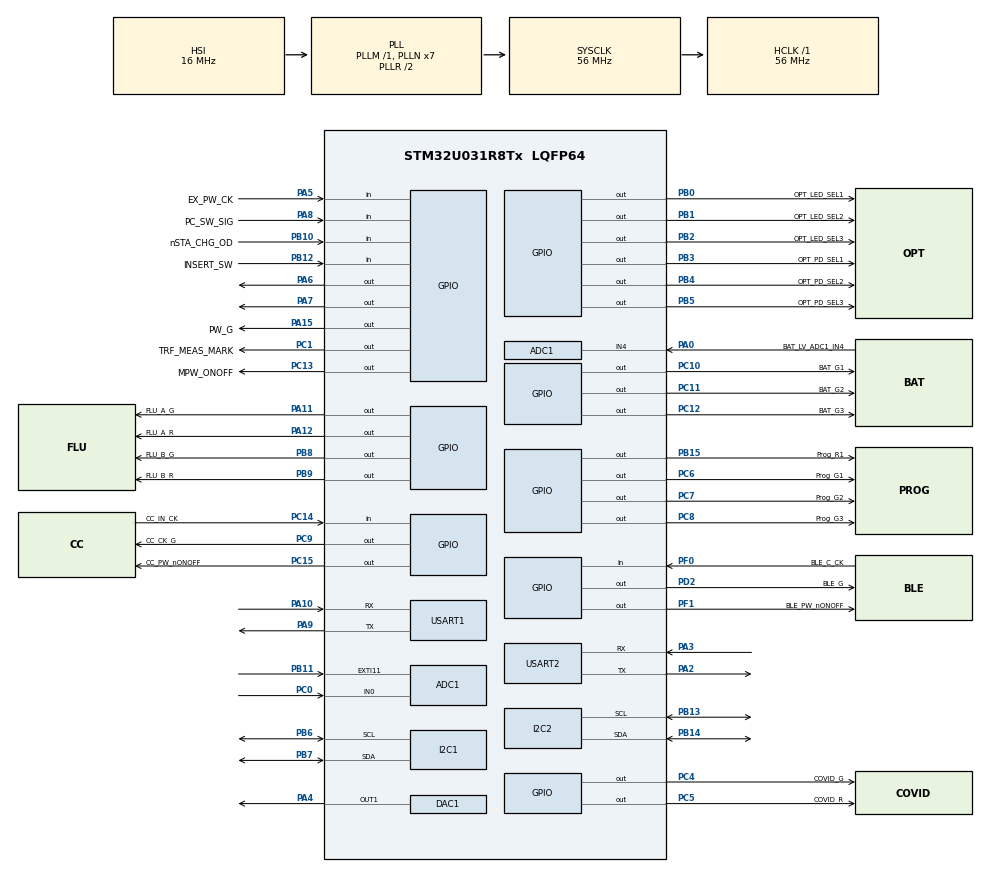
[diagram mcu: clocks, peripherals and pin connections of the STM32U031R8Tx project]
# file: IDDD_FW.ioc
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ADC1.Channel-0\#ChannelRegularConversion=ADC_CHANNEL_0
ADC1.ClockPrescaler=ADC_CLOCK_ASYNC_DIV1
ADC1.ExternalTrigConvEdge=ADC_EXTERNALTRIGCONVEDGE_RISING
ADC1.NbrOfConversionFlag=1
ADC1.Rank-0\#ChannelRegularConversion=1
ADC1.RankArg-0\#ChannelRegularConversion=ADC_REGULAR_RANK_1
ADC1.SamplingTime-0\#ChannelRegularConversion=ADC_SAMPLINGTIME_COMMON_1
ADC1.SelectedChannel=ADC_CHANNEL_0|ADC_CHANNEL_4
ADC1.master=1
Dma.ADC1.0.Direction=DMA_PERIPH_TO_MEMORY
Dma.ADC1.0.EventEnable=DISABLE
Dma.ADC1.0.Instance=DMA1_Channel1
Dma.ADC1.0.MemDataAlignment=DMA_MDATAALIGN_HALFWORD
Dma.ADC1.0.MemInc=DMA_MINC_ENABLE
Dma.ADC1.0.Mode=DMA_NORMAL
Dma.ADC1.0.PeriphDataAlignment=DMA_PDATAALIGN_HALFWORD
Dma.ADC1.0.PeriphInc=DMA_PINC_DISABLE
Dma.ADC1.0.Polarity=HAL_DMAMUX_REQ_GEN_RISING
Dma.ADC1.0.Priority=DMA_PRIORITY_LOW
Dma.ADC1.0.RequestNumber=1
Dma.ADC1.0.SignalID=NONE
Dma.ADC1.0.SyncEnable=DISABLE
Dma.ADC1.0.SyncPolarity=HAL_DMAMUX_SYNC_NO_EVENT
Dma.ADC1.0.SyncRequestNumber=1
Dma.ADC1.0.SyncSignalID=NONE
Dma.Request0=ADC1
Dma.Request1=USART1_TX
Dma.Request2=USART2_TX
Dma.USART1_TX.1.Direction=DMA_MEMORY_TO_PERIPH
Dma.USART1_TX.1.EventEnable=DISABLE
Dma.USART1_TX.1.Instance=DMA1_Channel2
Dma.USART1_TX.1.MemDataAlignment=DMA_MDATAALIGN_BYTE
Dma.USART1_TX.1.MemInc=DMA_MINC_ENABLE
Dma.USART1_TX.1.Mode=DMA_NORMAL
Dma.USART1_TX.1.PeriphDataAlignment=DMA_PDATAALIGN_BYTE
Dma.USART1_TX.1.PeriphInc=DMA_PINC_DISABLE
Dma.USART1_TX.1.Polarity=HAL_DMAMUX_REQ_GEN_RISING
Dma.USART1_TX.1.Priority=DMA_PRIORITY_LOW
Dma.USART1_TX.1.RequestNumber=1
Dma.USART1_TX.1.SignalID=NONE
Dma.USART1_TX.1.SyncEnable=DISABLE
Dma.USART1_TX.1.SyncPolarity=HAL_DMAMUX_SYNC_NO_EVENT
Dma.USART1_TX.1.SyncRequestNumber=1
Dma.USART1_TX.1.SyncSignalID=NONE
Dma.USART2_TX.2.Direction=DMA_MEMORY_TO_PERIPH
Dma.USART2_TX.2.EventEnable=DISABLE
Dma.USART2_TX.2.Instance=DMA1_Channel3
Dma.USART2_TX.2.MemDataAlignment=DMA_MDATAALIGN_BYTE
Dma.USART2_TX.2.MemInc=DMA_MINC_ENABLE
Dma.USART2_TX.2.Mode=DMA_NORMAL
Dma.USART2_TX.2.PeriphDataAlignment=DMA_PDATAALIGN_BYTE
Dma.USART2_TX.2.PeriphInc=DMA_PINC_DISABLE
Dma.USART2_TX.2.Polarity=HAL_DMAMUX_REQ_GEN_RISING
Dma.USART2_TX.2.Priority=DMA_PRIORITY_LOW
Dma.USART2_TX.2.RequestNumber=1
Dma.USART2_TX.2.SignalID=NONE
Dma.USART2_TX.2.SyncEnable=DISABLE
Dma.USART2_TX.2.SyncPolarity=HAL_DMAMUX_SYNC_NO_EVENT
Dma.USART2_TX.2.SyncRequestNumber=1
Dma.USART2_TX.2.SyncSignalID=NONE
I2C1.Timing=0x10606DA4
I2C2.Timing=0x10606DA4
Mcu.Family=STM32U0
Mcu.Name=STM32U031R8Tx
Mcu.Package=LQFP64
NVIC.DMA1_Channel1_IRQn=true\:0\:0\:false\:false\:true\:false\:true\:true
NVIC.DMA1_Channel2_3_IRQn=true\:0\:0\:false\:false\:true\:false\:true\:true
NVIC.PriorityGroup=NVIC_PRIORITYGROUP_2
NVIC.TIM7_LPTIM2_IRQn=true\:3\:0\:false\:false\:true\:false\:true\:true
NVIC.TimeBase=TIM7_LPTIM2_IRQn
NVIC.TimeBaseIP=TIM7
NVIC.USART1_IRQn=true\:0\:0\:false\:false\:true\:true\:true\:true
NVIC.USART2_LPUART2_IRQn=true\:0\:0\:false\:false\:true\:true\:true\:true
PA0.GPIO_Label=BAT_LV_ADC1_IN4
PA0.Mode=IN4
PA0.Signal=ADC1_IN4
PA10.Mode=Asynchronous
PA10.Signal=USART1_RX
PA11\ [PA9].GPIO_Label=FLU_A_G
PA11\ [PA9].PinState=GPIO_PIN_SET
PA11\ [PA9].Signal=GPIO_Output
PA12\ [PA10].GPIO_Label=FLU_A_R
PA12\ [PA10].PinState=GPIO_PIN_SET
PA12\ [PA10].Signal=GPIO_Output
PA13\ (SWDIO).Mode=Serial_Wire
PA13\ (SWDIO).Signal=DEBUG_JTMS-SWDIO
PA14\ (SWCLK).Mode=Serial_Wire
PA14\ (SWCLK).Signal=DEBUG_JTCK-SWCLK
PA15.GPIO_Label=PW_G
PA15.PinState=GPIO_PIN_SET
PA15.Signal=GPIO_Output
PA2.Mode=Asynchronous
PA2.Signal=USART2_TX
PA3.Mode=Asynchronous
PA3.Signal=USART2_RX
PA4.Signal=COMP_DAC11_group
PA5.GPIO_Label=EX_PW_CK
PA5.Signal=GPIO_Input
PA6.Signal=GPIO_Output
PA7.Signal=GPIO_Output
PA8.GPIO_Label=PC_SW_SIG
PA8.GPIO_PuPd=GPIO_PULLDOWN
PA8.Signal=GPIO_Input
PA9.Mode=Asynchronous
PA9.Signal=USART1_TX
PB0.GPIO_Label=OPT_LED_SEL1
PB0.Signal=GPIO_Output
PB1.GPIO_Label=OPT_LED_SEL2
PB1.Signal=GPIO_Output
PB10.GPIO_Label=nSTA_CHG_OD
PB10.GPIO_PuPd=GPIO_PULLUP
PB10.Signal=GPIO_Input
PB11.Signal=GPXTI11
PB12.GPIO_Label=INSERT_SW
PB12.Signal=GPIO_Input
PB13.Mode=I2C
PB13.Signal=I2C2_SCL
PB14.Mode=I2C
PB14.Signal=I2C2_SDA
PB15.GPIO_Label=Prog_R1
PB15.PinState=GPIO_PIN_SET
PB15.Signal=GPIO_Output
PB2.GPIO_Label=OPT_LED_SEL3
PB2.Signal=GPIO_Output
PB3.GPIO_Label=OPT_PD_SEL1
PB3.Signal=GPIO_Output
PB4.GPIO_Label=OPT_PD_SEL2
PB4.Signal=GPIO_Output
PB5.GPIO_Label=OPT_PD_SEL3
PB5.Signal=GPIO_Output
PB6.Mode=I2C
PB6.Signal=I2C1_SCL
PB7.Mode=I2C
PB7.Signal=I2C1_SDA
PB8.GPIO_Label=FLU_B_G
PB8.PinState=GPIO_PIN_SET
PB8.Signal=GPIO_Output
PB9.GPIO_Label=FLU_B_R
PB9.PinState=GPIO_PIN_SET
PB9.Signal=GPIO_Output
PC0.Mode=IN0
PC0.Signal=ADC1_IN0
PC1.GPIO_Label=TRF_MEAS_MARK
PC1.Signal=GPIO_Output
PC10.GPIO_Label=BAT_G1
PC10.PinState=GPIO_PIN_SET
PC10.Signal=GPIO_Output
PC11.GPIO_Label=BAT_G2
PC11.PinState=GPIO_PIN_SET
PC11.Signal=GPIO_Output
PC12.GPIO_Label=BAT_G3
PC12.PinState=GPIO_PIN_SET
PC12.Signal=GPIO_Output
PC13.GPIO_Label=MPW_ONOFF
PC13.PinState=GPIO_PIN_SET
PC13.Signal=GPIO_Output
PC14-OSC32_IN.GPIO_Label=CC_IN_CK
PC14-OSC32_IN.GPIO_PuPd=GPIO_PULLDOWN
PC14-OSC32_IN.Signal=GPIO_Input
PC15-OSC32_OUT.GPIO_Label=CC_PW_nONOFF
PC15-OSC32_OUT.PinState=GPIO_PIN_SET
PC15-OSC32_OUT.Signal=GPIO_Output
PC4.GPIO_Label=COVID_G
PC4.PinState=GPIO_PIN_SET
PC4.Signal=GPIO_Output
PC5.GPIO_Label=COVID_R
PC5.PinState=GPIO_PIN_SET
PC5.Signal=GPIO_Output
PC6.GPIO_Label=Prog_G1
PC6.PinState=GPIO_PIN_SET
PC6.Signal=GPIO_Output
PC7.GPIO_Label=Prog_G2
PC7.PinState=GPIO_PIN_SET
PC7.Signal=GPIO_Output
PC8.GPIO_Label=Prog_G3
PC8.PinState=GPIO_PIN_SET
PC8.Signal=GPIO_Output
PC9.GPIO_Label=CC_CK_G
PC9.Signal=GPIO_Output
PD2.GPIO_Label=BLE_G
PD2.Signal=GPIO_Output
PF0-OSC_IN.GPIO_Label=BLE_C_CK
PF0-OSC_IN.Signal=GPIO_Input
PF1-OSC_OUT.GPIO_Label=BLE_PW_nONOFF
PF1-OSC_OUT.PinState=GPIO_PIN_SET
PF1-OSC_OUT.Signal=GPIO_Output
ProjectManager.HeapSize=0x200
ProjectManager.StackSize=0x400
ProjectManager.TargetToolchain=EWARM V9.20
RCC.ADCFreq_Value=56000000
RCC.AHBFreq_Value=56000000
RCC.CortexFreq_Value=56000000
RCC.HCLKFreq_Value=56000000
RCC.HSE_VALUE=4000000
RCC.HSI48_VALUE=48000000
RCC.HSI_VALUE=16000000
RCC.LSE_VALUE=32768
RCC.MSI_VALUE=4000000
RCC.PLLN=7
RCC.SYSCLKFreq_VALUE=56000000
RCC.SYSCLKSource=RCC_SYSCLKSOURCE_PLLCLK
RCC.VCOOutputFreq_Value=112000000
SH.COMP_DAC11_group.0=DAC1_OUT1,DAC_OUT1
STMicroelectronics.X-CUBE-FREERTOS.1.3.1.configTOTAL_HEAP_SIZE=6144
TIM3.AutoReloadPreload=TIM_AUTORELOAD_PRELOAD_DISABLE
TIM3.Period=9999
TIM3.Prescaler=55
USART1.VirtualMode-Asynchronous=VM_ASYNC
USART2.VirtualMode-Asynchronous=VM_ASYNC
VP_PWR_VS_SECSignals.Mode=Security/Privilege
VP_SYS_VS_tim7.Mode=TIM7
VP_TIM3_VS_ClockSourceINT.Mode=Internal
board=custom

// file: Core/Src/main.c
/* USER CODE BEGIN Header */
/**
  ******************************************************************************
  * @file           : main.c
  * @brief          : Main program body
  ******************************************************************************
  * @attention
  *
  * Copyright (c) 2025 STMicroelectronics.
  * All rights reserved.
  *
  * This software is licensed under terms that can be found in the LICENSE file
  * in the root directory of this software component.
  * If no LICENSE file comes with this software, it is provided AS-IS.
  *
  ******************************************************************************
  */
/* USER CODE END Header */
#include "main.h"

/* USER CODE BEGIN Includes */
#include "User_Main.h"

/* USER CODE END Includes */

ADC_HandleTypeDef hadc1;
DMA_HandleTypeDef hdma_adc1;

DAC_HandleTypeDef hdac1;

I2C_HandleTypeDef hi2c1;
I2C_HandleTypeDef hi2c2;

TIM_HandleTypeDef htim3;

UART_HandleTypeDef huart1;
UART_HandleTypeDef huart2;
DMA_HandleTypeDef hdma_usart1_tx;
DMA_HandleTypeDef hdma_usart2_tx;

void SystemClock_Config(void);
static void MX_GPIO_Init(void);
static void MX_DMA_Init(void);
static void MX_ADC1_Init(void);
static void MX_DAC1_Init(void);
static void MX_I2C1_Init(void);
static void MX_I2C2_Init(void);
static void MX_TIM3_Init(void);
static void MX_USART1_UART_Init(void);
static void MX_USART2_UART_Init(void);
/* USER CODE BEGIN PFP */
void DefaultTask(void *p_arg);

/* USER CODE END PFP */

int main(void)
{

  /* MCU Configuration--------------------------------------------------------*/

  /* Reset of all peripherals, Initializes the Flash interface and the Systick. */
  HAL_Init();

  /* Configure the system clock */
  SystemClock_Config();

  /* Initialize all configured peripherals */
  MX_GPIO_Init();
  MX_DMA_Init();
  MX_ADC1_Init();
  MX_DAC1_Init();
  MX_I2C1_Init();
  MX_I2C2_Init();
  MX_TIM3_Init();
  MX_USART1_UART_Init();
  MX_USART2_UART_Init();
  /* USER CODE BEGIN 2 */

  //xTaskCreate(DefaultTask, "Default", 128, NULL, 1, NULL);
  hsMain_User_Config();

  /* USER CODE END 2 */

  /* Infinite loop */
  /* USER CODE BEGIN WHILE */

  vTaskStartScheduler();

  while (1)
  {
    /* USER CODE END WHILE */

  }
}

void SystemClock_Config(void)
{
  RCC_OscInitTypeDef RCC_OscInitStruct = {0};
  RCC_ClkInitTypeDef RCC_ClkInitStruct = {0};

  /** Configure the main internal regulator output voltage
  */
  HAL_PWREx_ControlVoltageScaling(PWR_REGULATOR_VOLTAGE_SCALE1);

  /** Initializes the RCC Oscillators according to the specified parameters
  * in the RCC_OscInitTypeDef structure.
  */
  RCC_OscInitStruct.OscillatorType = RCC_OSCILLATORTYPE_HSI;
  RCC_OscInitStruct.HSIState = RCC_HSI_ON;
  RCC_OscInitStruct.HSICalibrationValue = RCC_HSICALIBRATION_DEFAULT;
  RCC_OscInitStruct.PLL.PLLState = RCC_PLL_ON;
  RCC_OscInitStruct.PLL.PLLSource = RCC_PLLSOURCE_HSI;
  RCC_OscInitStruct.PLL.PLLM = RCC_PLLM_DIV1;
  RCC_OscInitStruct.PLL.PLLN = 7;
  RCC_OscInitStruct.PLL.PLLP = RCC_PLLP_DIV2;
  RCC_OscInitStruct.PLL.PLLQ = RCC_PLLQ_DIV2;
  RCC_OscInitStruct.PLL.PLLR = RCC_PLLR_DIV2;
  if (HAL_RCC_OscConfig(&RCC_OscInitStruct) != HAL_OK)
  {
    Error_Handler();
  }

  /** Initializes the CPU, AHB and APB buses clocks
  */
  RCC_ClkInitStruct.ClockType = RCC_CLOCKTYPE_HCLK|RCC_CLOCKTYPE_SYSCLK
                              |RCC_CLOCKTYPE_PCLK1;
  RCC_ClkInitStruct.SYSCLKSource = RCC_SYSCLKSOURCE_PLLCLK;
  RCC_ClkInitStruct.AHBCLKDivider = RCC_SYSCLK_DIV1;
  RCC_ClkInitStruct.APB1CLKDivider = RCC_HCLK_DIV1;

  if (HAL_RCC_ClockConfig(&RCC_ClkInitStruct, FLASH_LATENCY_2) != HAL_OK)
  {
    Error_Handler();
  }
}

static void MX_ADC1_Init(void)
{

  ADC_ChannelConfTypeDef sConfig = {0};

  /** Configure the global features of the ADC (Clock, Resolution, Data Alignment and number of conversion)
  */
  hadc1.Instance = ADC1;
  hadc1.Init.ClockPrescaler = ADC_CLOCK_ASYNC_DIV1;
  hadc1.Init.Resolution = ADC_RESOLUTION_12B;
  hadc1.Init.DataAlign = ADC_DATAALIGN_RIGHT;
  hadc1.Init.ScanConvMode = ADC_SCAN_DISABLE;
  hadc1.Init.EOCSelection = ADC_EOC_SINGLE_CONV;
  hadc1.Init.LowPowerAutoWait = DISABLE;
  hadc1.Init.LowPowerAutoPowerOff = DISABLE;
  hadc1.Init.ContinuousConvMode = DISABLE;
  hadc1.Init.NbrOfConversion = 1;
  hadc1.Init.DiscontinuousConvMode = DISABLE;
  hadc1.Init.ExternalTrigConv = ADC_EXTERNALTRIG_EXT_IT11;
  hadc1.Init.ExternalTrigConvEdge = ADC_EXTERNALTRIGCONVEDGE_RISING;
  hadc1.Init.DMAContinuousRequests = DISABLE;
  hadc1.Init.Overrun = ADC_OVR_DATA_PRESERVED;
  hadc1.Init.SamplingTimeCommon1 = ADC_SAMPLETIME_1CYCLE_5;
  hadc1.Init.SamplingTimeCommon2 = ADC_SAMPLETIME_1CYCLE_5;
  hadc1.Init.OversamplingMode = DISABLE;
  hadc1.Init.TriggerFrequencyMode = ADC_TRIGGER_FREQ_HIGH;
  if (HAL_ADC_Init(&hadc1) != HAL_OK)
  {
    Error_Handler();
  }

  /** Configure Regular Channel
  */
  sConfig.Channel = ADC_CHANNEL_0;
  sConfig.Rank = ADC_REGULAR_RANK_1;
  sConfig.SamplingTime = ADC_SAMPLINGTIME_COMMON_1;
  if (HAL_ADC_ConfigChannel(&hadc1, &sConfig) != HAL_OK)
  {
    Error_Handler();
  }

}

static void MX_DAC1_Init(void)
{

  DAC_ChannelConfTypeDef sConfig = {0};

  /* USER CODE BEGIN DAC1_Init 1 */

  /** DAC Initialization
  */
  hdac1.Instance = DAC1;
  if (HAL_DAC_Init(&hdac1) != HAL_OK)
  {
    Error_Handler();
  }

#if 0
  /* USER CODE END DAC1_Init 1 */

  /** DAC Initialization
  */
  hdac1.Instance = DAC1;
  if (HAL_DAC_Init(&hdac1) != HAL_OK)
  {
    Error_Handler();
  }

  /** DAC channel OUT1 config
  */
  sConfig.DAC_SampleAndHold = DAC_SAMPLEANDHOLD_DISABLE;
  sConfig.DAC_Trigger = DAC_TRIGGER_NONE;
  sConfig.DAC_OutputBuffer = DAC_OUTPUTBUFFER_DISABLE;
  sConfig.DAC_ConnectOnChipPeripheral = DAC_CHIPCONNECT_EXTERNAL;
  sConfig.DAC_UserTrimming = DAC_TRIMMING_FACTORY;
  if (HAL_DAC_ConfigChannel(&hdac1, &sConfig, DAC_CHANNEL_1) != HAL_OK)
  {
    Error_Handler();
  }
  /* USER CODE BEGIN DAC1_Init 2 */
#endif
  if( HAL_DACEx_SelfCalibrate(&hdac1, &sConfig, DAC_CHANNEL_1) != HAL_OK)
  {
    Error_Handler();
  }

  sConfig.DAC_SampleAndHold = DAC_SAMPLEANDHOLD_DISABLE;
  sConfig.DAC_Trigger = DAC_TRIGGER_NONE;
  sConfig.DAC_OutputBuffer = DAC_OUTPUTBUFFER_DISABLE;
  sConfig.DAC_ConnectOnChipPeripheral = DAC_CHIPCONNECT_EXTERNAL;
  if (HAL_DAC_ConfigChannel(&hdac1, &sConfig, DAC_CHANNEL_1) != HAL_OK)
  {
    Error_Handler();
  }

  HAL_DAC_Start(&hdac1, DAC_CHANNEL_1);
  HAL_DAC_SetValue(&hdac1, DAC_CHANNEL_1, DAC_ALIGN_12B_R, 0);

  /* USER CODE END DAC1_Init 2 */

}

static void MX_I2C1_Init(void)
{

  hi2c1.Instance = I2C1;
  hi2c1.Init.Timing = 0x10606DA4;
  hi2c1.Init.OwnAddress1 = 0;
  hi2c1.Init.AddressingMode = I2C_ADDRESSINGMODE_7BIT;
  hi2c1.Init.DualAddressMode = I2C_DUALADDRESS_DISABLE;
  hi2c1.Init.OwnAddress2 = 0;
  hi2c1.Init.OwnAddress2Masks = I2C_OA2_NOMASK;
  hi2c1.Init.GeneralCallMode = I2C_GENERALCALL_DISABLE;
  hi2c1.Init.NoStretchMode = I2C_NOSTRETCH_DISABLE;
  if (HAL_I2C_Init(&hi2c1) != HAL_OK)
  {
    Error_Handler();
  }

  /** Configure Analogue filter
  */
  if (HAL_I2CEx_ConfigAnalogFilter(&hi2c1, I2C_ANALOGFILTER_ENABLE) != HAL_OK)
  {
    Error_Handler();
  }

  /** Configure Digital filter
  */
  if (HAL_I2CEx_ConfigDigitalFilter(&hi2c1, 0) != HAL_OK)
  {
    Error_Handler();
  }

}

static void MX_I2C2_Init(void)
{

  hi2c2.Instance = I2C2;
  hi2c2.Init.Timing = 0x10606DA4;
  hi2c2.Init.OwnAddress1 = 0;
  hi2c2.Init.AddressingMode = I2C_ADDRESSINGMODE_7BIT;
  hi2c2.Init.DualAddressMode = I2C_DUALADDRESS_DISABLE;
  hi2c2.Init.OwnAddress2 = 0;
  hi2c2.Init.OwnAddress2Masks = I2C_OA2_NOMASK;
  hi2c2.Init.GeneralCallMode = I2C_GENERALCALL_DISABLE;
  hi2c2.Init.NoStretchMode = I2C_NOSTRETCH_DISABLE;
  if (HAL_I2C_Init(&hi2c2) != HAL_OK)
  {
    Error_Handler();
  }

  /** Configure Analogue filter
  */
  if (HAL_I2CEx_ConfigAnalogFilter(&hi2c2, I2C_ANALOGFILTER_ENABLE) != HAL_OK)
  {
    Error_Handler();
  }

  /** Configure Digital filter
  */
  if (HAL_I2CEx_ConfigDigitalFilter(&hi2c2, 0) != HAL_OK)
  {
    Error_Handler();
  }

}

static void MX_TIM3_Init(void)
{

  TIM_ClockConfigTypeDef sClockSourceConfig = {0};
  TIM_MasterConfigTypeDef sMasterConfig = {0};

  htim3.Instance = TIM3;
  htim3.Init.Prescaler = 55;
  htim3.Init.CounterMode = TIM_COUNTERMODE_UP;
  htim3.Init.Period = 9999;
  htim3.Init.ClockDivision = TIM_CLOCKDIVISION_DIV1;
  htim3.Init.AutoReloadPreload = TIM_AUTORELOAD_PRELOAD_DISABLE;
  if (HAL_TIM_Base_Init(&htim3) != HAL_OK)
  {
    Error_Handler();
  }
  sClockSourceConfig.ClockSource = TIM_CLOCKSOURCE_INTERNAL;
  if (HAL_TIM_ConfigClockSource(&htim3, &sClockSourceConfig) != HAL_OK)
  {
    Error_Handler();
  }
  sMasterConfig.MasterOutputTrigger = TIM_TRGO_RESET;
  sMasterConfig.MasterSlaveMode = TIM_MASTERSLAVEMODE_DISABLE;
  if (HAL_TIMEx_MasterConfigSynchronization(&htim3, &sMasterConfig) != HAL_OK)
  {
    Error_Handler();
  }

}

static void MX_USART1_UART_Init(void)
{

  huart1.Instance = USART1;
  huart1.Init.BaudRate = 115200;
  huart1.Init.WordLength = UART_WORDLENGTH_8B;
  huart1.Init.StopBits = UART_STOPBITS_1;
  huart1.Init.Parity = UART_PARITY_NONE;
  huart1.Init.Mode = UART_MODE_TX_RX;
  huart1.Init.HwFlowCtl = UART_HWCONTROL_NONE;
  huart1.Init.OverSampling = UART_OVERSAMPLING_16;
  huart1.Init.OneBitSampling = UART_ONE_BIT_SAMPLE_DISABLE;
  huart1.Init.ClockPrescaler = UART_PRESCALER_DIV1;
  huart1.AdvancedInit.AdvFeatureInit = UART_ADVFEATURE_NO_INIT;
  if (HAL_UART_Init(&huart1) != HAL_OK)
  {
    Error_Handler();
  }
  if (HAL_UARTEx_SetTxFifoThreshold(&huart1, UART_TXFIFO_THRESHOLD_1_8) != HAL_OK)
  {
    Error_Handler();
  }
  if (HAL_UARTEx_SetRxFifoThreshold(&huart1, UART_RXFIFO_THRESHOLD_1_8) != HAL_OK)
  {
    Error_Handler();
  }
  if (HAL_UARTEx_DisableFifoMode(&huart1) != HAL_OK)
  {
    Error_Handler();
  }

}

static void MX_USART2_UART_Init(void)
{

  huart2.Instance = USART2;
  huart2.Init.BaudRate = 115200;
  huart2.Init.WordLength = UART_WORDLENGTH_8B;
  huart2.Init.StopBits = UART_STOPBITS_1;
  huart2.Init.Parity = UART_PARITY_NONE;
  huart2.Init.Mode = UART_MODE_TX_RX;
  huart2.Init.HwFlowCtl = UART_HWCONTROL_NONE;
  huart2.Init.OverSampling = UART_OVERSAMPLING_16;
  huart2.Init.OneBitSampling = UART_ONE_BIT_SAMPLE_DISABLE;
  huart2.Init.ClockPrescaler = UART_PRESCALER_DIV1;
  huart2.AdvancedInit.AdvFeatureInit = UART_ADVFEATURE_NO_INIT;
  if (HAL_UART_Init(&huart2) != HAL_OK)
  {
    Error_Handler();
  }
  if (HAL_UARTEx_SetTxFifoThreshold(&huart2, UART_TXFIFO_THRESHOLD_1_8) != HAL_OK)
  {
    Error_Handler();
  }
  if (HAL_UARTEx_SetRxFifoThreshold(&huart2, UART_RXFIFO_THRESHOLD_1_8) != HAL_OK)
  {
    Error_Handler();
  }
  if (HAL_UARTEx_DisableFifoMode(&huart2) != HAL_OK)
  {
    Error_Handler();
  }

}

static void MX_DMA_Init(void)
{

  /* DMA controller clock enable */
  __HAL_RCC_DMA1_CLK_ENABLE();

  /* DMA interrupt init */
  /* DMA1_Channel1_IRQn interrupt configuration */
  HAL_NVIC_SetPriority(DMA1_Channel1_IRQn, 0, 0);
  HAL_NVIC_EnableIRQ(DMA1_Channel1_IRQn);
  /* DMA1_Channel2_3_IRQn interrupt configuration */
  HAL_NVIC_SetPriority(DMA1_Channel2_3_IRQn, 0, 0);
  HAL_NVIC_EnableIRQ(DMA1_Channel2_3_IRQn);

}

static void MX_GPIO_Init(void)
{
  GPIO_InitTypeDef GPIO_InitStruct = {0};

  /* GPIO Ports Clock Enable */
  __HAL_RCC_GPIOC_CLK_ENABLE();
  __HAL_RCC_GPIOF_CLK_ENABLE();
  __HAL_RCC_GPIOA_CLK_ENABLE();
  __HAL_RCC_GPIOB_CLK_ENABLE();
  __HAL_RCC_GPIOD_CLK_ENABLE();

  /*Configure GPIO pin Output Level */
  HAL_GPIO_WritePin(GPIOC, MPW_ONOFF_Pin|CC_PW_nONOFF_Pin|COVID_G_Pin|COVID_R_Pin
                          |Prog_G1_Pin|Prog_G2_Pin|Prog_G3_Pin|BAT_G1_Pin
                          |BAT_G2_Pin|BAT_G3_Pin, GPIO_PIN_SET);

  /*Configure GPIO pin Output Level */
  HAL_GPIO_WritePin(BLE_PW_nONOFF_GPIO_Port, BLE_PW_nONOFF_Pin, GPIO_PIN_SET);

  /*Configure GPIO pin Output Level */
  HAL_GPIO_WritePin(GPIOC, TRF_MEAS_MARK_Pin|CC_CK_G_Pin, GPIO_PIN_RESET);

  /*Configure GPIO pin Output Level */
  HAL_GPIO_WritePin(GPIOA, GPIO_PIN_6|GPIO_PIN_7, GPIO_PIN_RESET);

  /*Configure GPIO pin Output Level */
  HAL_GPIO_WritePin(GPIOB, OPT_LED_SEL1_Pin|OPT_LED_SEL2_Pin|OPT_LED_SEL3_Pin|OPT_PD_SEL1_Pin
                          |OPT_PD_SEL2_Pin|OPT_PD_SEL3_Pin, GPIO_PIN_RESET);

  /*Configure GPIO pin Output Level */
  HAL_GPIO_WritePin(GPIOB, Prog_R1_Pin|FLU_B_G_Pin|FLU_B_R_Pin, GPIO_PIN_SET);

  /*Configure GPIO pin Output Level */
  HAL_GPIO_WritePin(GPIOA, FLU_A_G_Pin|FLU_A_R_Pin|PW_G_Pin, GPIO_PIN_SET);

  /*Configure GPIO pin Output Level */
  HAL_GPIO_WritePin(BLE_G_GPIO_Port, BLE_G_Pin, GPIO_PIN_RESET);

  /*Configure GPIO pins : MPW_ONOFF_Pin CC_PW_nONOFF_Pin TRF_MEAS_MARK_Pin COVID_G_Pin
                           COVID_R_Pin Prog_G1_Pin Prog_G2_Pin Prog_G3_Pin
                           CC_CK_G_Pin BAT_G1_Pin BAT_G2_Pin BAT_G3_Pin */
  GPIO_InitStruct.Pin = MPW_ONOFF_Pin|CC_PW_nONOFF_Pin|TRF_MEAS_MARK_Pin|COVID_G_Pin
                          |COVID_R_Pin|Prog_G1_Pin|Prog_G2_Pin|Prog_G3_Pin
                          |CC_CK_G_Pin|BAT_G1_Pin|BAT_G2_Pin|BAT_G3_Pin;
  GPIO_InitStruct.Mode = GPIO_MODE_OUTPUT_PP;
  GPIO_InitStruct.Pull = GPIO_NOPULL;
  GPIO_InitStruct.Speed = GPIO_SPEED_FREQ_LOW;
  HAL_GPIO_Init(GPIOC, &GPIO_InitStruct);

  /*Configure GPIO pin : CC_IN_CK_Pin */
  GPIO_InitStruct.Pin = CC_IN_CK_Pin;
  GPIO_InitStruct.Mode = GPIO_MODE_INPUT;
  GPIO_InitStruct.Pull = GPIO_PULLDOWN;
  HAL_GPIO_Init(CC_IN_CK_GPIO_Port, &GPIO_InitStruct);

  /*Configure GPIO pin : BLE_C_CK_Pin */
  GPIO_InitStruct.Pin = BLE_C_CK_Pin;
  GPIO_InitStruct.Mode = GPIO_MODE_INPUT;
  GPIO_InitStruct.Pull = GPIO_NOPULL;
  HAL_GPIO_Init(BLE_C_CK_GPIO_Port, &GPIO_InitStruct);

  /*Configure GPIO pin : BLE_PW_nONOFF_Pin */
  GPIO_InitStruct.Pin = BLE_PW_nONOFF_Pin;
  GPIO_InitStruct.Mode = GPIO_MODE_OUTPUT_PP;
  GPIO_InitStruct.Pull = GPIO_NOPULL;
  GPIO_InitStruct.Speed = GPIO_SPEED_FREQ_LOW;
  HAL_GPIO_Init(BLE_PW_nONOFF_GPIO_Port, &GPIO_InitStruct);

  /*Configure GPIO pin : EX_PW_CK_Pin */
  GPIO_InitStruct.Pin = EX_PW_CK_Pin;
  GPIO_InitStruct.Mode = GPIO_MODE_INPUT;
  GPIO_InitStruct.Pull = GPIO_NOPULL;
  HAL_GPIO_Init(EX_PW_CK_GPIO_Port, &GPIO_InitStruct);

  /*Configure GPIO pins : PA6 PA7 FLU_A_G_Pin FLU_A_R_Pin
                           PW_G_Pin */
  GPIO_InitStruct.Pin = GPIO_PIN_6|GPIO_PIN_7|FLU_A_G_Pin|FLU_A_R_Pin
                          |PW_G_Pin;
  GPIO_InitStruct.Mode = GPIO_MODE_OUTPUT_PP;
  GPIO_InitStruct.Pull = GPIO_NOPULL;
  GPIO_InitStruct.Speed = GPIO_SPEED_FREQ_LOW;
  HAL_GPIO_Init(GPIOA, &GPIO_InitStruct);

  /*Configure GPIO pins : OPT_LED_SEL1_Pin OPT_LED_SEL2_Pin OPT_LED_SEL3_Pin Prog_R1_Pin
                           OPT_PD_SEL1_Pin OPT_PD_SEL2_Pin OPT_PD_SEL3_Pin FLU_B_G_Pin
                           FLU_B_R_Pin */
  GPIO_InitStruct.Pin = OPT_LED_SEL1_Pin|OPT_LED_SEL2_Pin|OPT_LED_SEL3_Pin|Prog_R1_Pin
                          |OPT_PD_SEL1_Pin|OPT_PD_SEL2_Pin|OPT_PD_SEL3_Pin|FLU_B_G_Pin
                          |FLU_B_R_Pin;
  GPIO_InitStruct.Mode = GPIO_MODE_OUTPUT_PP;
  GPIO_InitStruct.Pull = GPIO_NOPULL;
  GPIO_InitStruct.Speed = GPIO_SPEED_FREQ_LOW;
  HAL_GPIO_Init(GPIOB, &GPIO_InitStruct);

  /*Configure GPIO pin : nSTA_CHG_OD_Pin */
  GPIO_InitStruct.Pin = nSTA_CHG_OD_Pin;
  GPIO_InitStruct.Mode = GPIO_MODE_INPUT;
  GPIO_InitStruct.Pull = GPIO_PULLUP;
  HAL_GPIO_Init(nSTA_CHG_OD_GPIO_Port, &GPIO_InitStruct);

  /*Configure GPIO pin : PB11 */
  GPIO_InitStruct.Pin = GPIO_PIN_11;
  GPIO_InitStruct.Mode = GPIO_MODE_IT_RISING;
  GPIO_InitStruct.Pull = GPIO_NOPULL;
  HAL_GPIO_Init(GPIOB, &GPIO_InitStruct);

  /*Configure GPIO pin : INSERT_SW_Pin */
  GPIO_InitStruct.Pin = INSERT_SW_Pin;
  GPIO_InitStruct.Mode = GPIO_MODE_INPUT;
  GPIO_InitStruct.Pull = GPIO_NOPULL;
  HAL_GPIO_Init(INSERT_SW_GPIO_Port, &GPIO_InitStruct);

  /*Configure GPIO pin : PC_SW_SIG_Pin */
  GPIO_InitStruct.Pin = PC_SW_SIG_Pin;
  GPIO_InitStruct.Mode = GPIO_MODE_INPUT;
  GPIO_InitStruct.Pull = GPIO_PULLDOWN;
  HAL_GPIO_Init(PC_SW_SIG_GPIO_Port, &GPIO_InitStruct);

  /*Configure GPIO pin : BLE_G_Pin */
  GPIO_InitStruct.Pin = BLE_G_Pin;
  GPIO_InitStruct.Mode = GPIO_MODE_OUTPUT_PP;
  GPIO_InitStruct.Pull = GPIO_NOPULL;
  GPIO_InitStruct.Speed = GPIO_SPEED_FREQ_LOW;
  HAL_GPIO_Init(BLE_G_GPIO_Port, &GPIO_InitStruct);

}

/* USER CODE BEGIN 4 */
void DefaultTask(void *p_arg)
{
  for(;;)
  {
    HW_All_LED_ONOFF(OFF);
    vTaskDelay(500);
    HW_All_LED_ONOFF(ON);
    vTaskDelay(500);
  }
}

/* USER CODE END 4 */

void HAL_TIM_PeriodElapsedCallback(TIM_HandleTypeDef *htim)
{
  if (htim->Instance == TIM7)
  {
    HAL_IncTick();
  }
}

void Error_Handler(void)
{
  __disable_irq();
  while (1)
  {
  }
}
